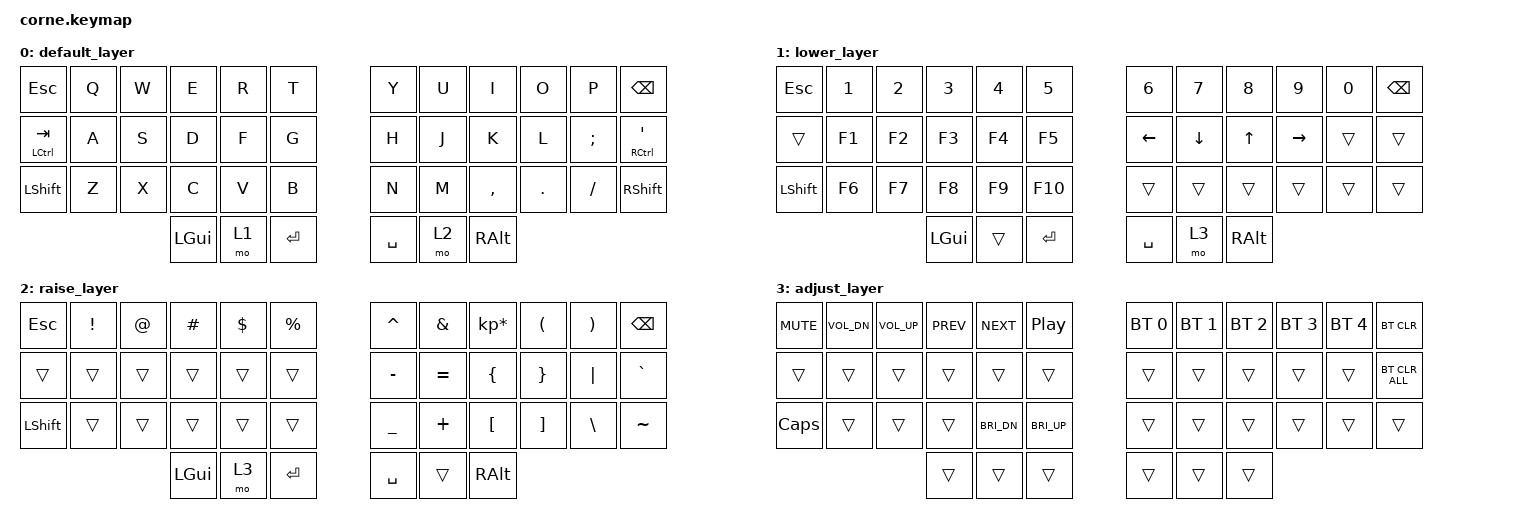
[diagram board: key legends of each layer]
/*
 * Copyright (c) 2020 The ZMK Contributors
 *
 * SPDX-License-Identifier: MIT
 */

#include <behaviors.dtsi>
#include <dt-bindings/zmk/keys.h>
#include <dt-bindings/zmk/bt.h>



//#include <zmk/events/keycode_state_changed.h>
//
//int on_key_pressed(const struct zmk_keycode_state_changed *ev) {
//    if (ev->state) { // キーが押された場合
//        char display_message[32];
//        snprintf(display_message, sizeof(display_message), "Key %d pressed", ev->keycode);
//        // OLEDにメッセージを表示する関数を呼び出す
//        oled_write(display_message, false);
//    }
//    return 0;
//}
//
//ZMK_LISTENER(my_listener, on_key_pressed);
//ZMK_SUBSCRIPTION(my_listener, zmk_keycode_state_changed);

#define DEFAULT 0
#define LOWER  1
#define RAISE  2
#define ADJUST 3


/ {
        keymap {
                compatible = "zmk,keymap";

                default_layer {
// -----------------------------------------------------------------------------------------
// |  ESC |  Q  |  W  |  E  |  R  |  T  |   |  Y  |  U   |  I  |  O  |  P  | BKSP |
// |CTL/TB|  A  |  S  |  D  |  F  |  G  |   |  H  |  J   |  K  |  L  |  ;  | CTL/'|
// | SHFT |  Z  |  X  |  C  |  V  |  B  |   |  N  |  M   |  ,  |  .  |  /  | SHFT |
//                    | GUI | LWR | ENT |   | SPC | RSE  | ALT |
                        bindings = <
   &kp ESC   &kp Q &kp W &kp E &kp R &kp T      &kp Y &kp U  &kp I     &kp O   &kp P    &kp BSPC
   &mt LCTRL TAB &kp A &kp S &kp D &kp F &kp G  &kp H &kp J  &kp K     &kp L   &kp SEMI &mt RCTRL SQT
   &kp LSHFT &kp Z &kp X &kp C &kp V &kp B      &kp N &kp M  &kp COMMA &kp DOT &kp FSLH &kp RSHIFT 
                  &kp LGUI &mo 1 &kp RET        &kp SPACE &mo 2 &kp RALT
                        >;
                };
                lower_layer {
// -----------------------------------------------------------------------------------------
// |  ESC |  1  |  2  |  3  |  4  |  5  |   |  6  |  7  |  8  |  9  |  0  | BKSP |
// |      | F1  | F2  | F3  | F4  | F5  |   | LFT | DWN |  UP | RGT |     |      |
// | SHFT | F6  | F7  | F8  | F9  | F10 |   |     |     |     |     |     |      |
//                    | GUI | LWR | ENT |   | SPC | RSE | ALT |
                        bindings = <
   &kp ESC    &kp N1       &kp N2       &kp N3       &kp N4 &kp N5 &kp N6 &kp N7 &kp N8 &kp N9 &kp N0 &kp BSPC
   &trans &kp F1 &kp F2 &kp F3 &kp F4 &kp F5         &kp LEFT &kp DOWN &kp UP &kp RIGHT &trans &trans
   &kp LSHFT  &kp F6 &kp F7 &kp F8 &kp F9 &kp F10    &trans &trans &trans &trans &trans &trans
                            &kp LGUI &trans &kp RET  &kp SPACE &mo 3 &kp RALT
                        >;
                };

                raise_layer {
// -----------------------------------------------------------------------------------------
// |  ESC |  !  |  @  |  #  |  $  |  %  |   |  ^  |  &  |  *  |  (  |  )  | BKSP |
// |      |     |     |     |     |     |   |  -  |  =  |  {  |  }  | "|" |  `   |
// | SHFT |     |     |     |     |     |   |  _  |  +  |  [  |  ]  |  \  |  ~   |
//                    | GUI | ADJ | ENT |   | SPC | ADJ | ALT |
                        bindings = <
   &kp  ESC  &kp EXCL &kp AT &kp HASH &kp DLLR &kp PRCNT   &kp CARET &kp AMPS  &kp KP_MULTIPLY &kp LPAR &kp RPAR &kp BSPC
   &trans &trans &trans &trans &trans &trans               &kp MINUS &kp EQUAL &kp LBRC &kp RBRC  &kp PIPE &kp GRAVE
   &kp LSHIFT &trans &trans &trans &trans &trans           &kp UNDER &kp PLUS  &kp LBKT &kp RBKT &kp BSLH &kp TILDE
                    	           &kp LGUI &mo 3 &kp RET  &kp SPACE  &trans  &kp RALT
                        >;
                };
                adjust_layer {
// -----------------------------------------------------------------------------------------
// | MUTE |VOLDN|VOLUP| PREV| NEXT| PLAY|   | BT1 | BT2 | BT3 | BT4 | BT5 | BTCLR|
// | CAPS |     |     |     |     |     |   |     |     |     |     |     | BTCLRALL|
// |      |     |     |     | BRID| BRIU|   |     |     |     |     |     |      |
//                    | GUI |     | ENT |   | SPC |     | ALT |
                        bindings = <
   &kp C_MUTE  &kp C_VOL_DN  &kp C_VOL_UP  &kp C_PREV  &kp C_NEXT &kp C_PP   &bt BT_SEL 0 &bt BT_SEL 1 &bt BT_SEL 2 &bt BT_SEL 3 &bt BT_SEL 4 &bt BT_CLR 
   &trans &trans &trans &trans &trans &trans                                 &trans &trans &trans &trans &trans &bt BT_CLR_ALL 
   &kp CAPS &trans  &trans &trans   &kp C_BRI_DN  &kp C_BRI_UP               &trans &trans &trans &trans &trans &trans
                                        &trans &trans &trans                 &trans &trans &trans 
                        >;
                };
        };
};
